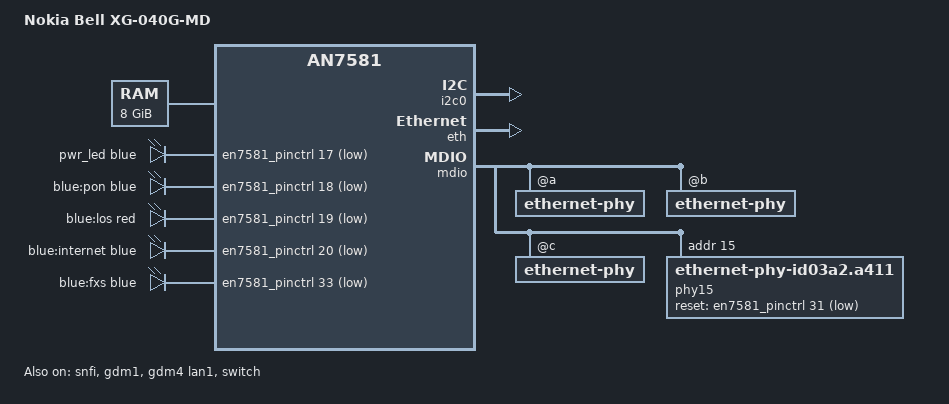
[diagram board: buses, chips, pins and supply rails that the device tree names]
// SPDX-License-Identifier: (GPL-2.0-only OR BSD-2-Clause)

/dts-v1/;

#include <dt-bindings/leds/common.h>
#include <dt-bindings/gpio/gpio.h>
#include <dt-bindings/input/input.h>
#include "an7581.dtsi"

/ {
    model = "Nokia Bell XG-040G-MD";
    compatible = "bell,xg-040g-md", "airoha,an7581";
    /* drop "airoha,en7581" as cpufreq doesn't work */

    aliases {
        serial0 = &uart1;
    };

    chosen {
        bootargs = "console=ttyS0,115200n8 earlycon";
        stdout-path = "serial0:115200n8";
        bootargs-append = " ubi.mtd=rootfs,2048 rootfstype=squashfs ubi.block=0,rootfs ro init=/etc/preinit";
    };

    memory@80000000 {
        device_type = "memory";
        reg = <0x0 0x80000000 0x2 0x00000000>;
    };

	leds {
		compatible = "gpio-leds";

		pwr_led: led-0 {
            // label = "blue:power";
            color = <LED_COLOR_ID_BLUE>;
			function = LED_FUNCTION_POWER;
			gpios = <&en7581_pinctrl 17 GPIO_ACTIVE_LOW>;
			default-state = "on";
		};

		led-1 {
			label = "blue:pon";
			color = <LED_COLOR_ID_BLUE>;
			function = LED_FUNCTION_STATUS;
			gpios = <&en7581_pinctrl 18 GPIO_ACTIVE_LOW>;
		};

		los_led: led-2 {
			label = "blue:los";
			color = <LED_COLOR_ID_RED>;
			function = LED_FUNCTION_STATUS;
			gpios = <&en7581_pinctrl 19 GPIO_ACTIVE_LOW>;
		};

		internet_led: led-3 {
			label = "blue:internet";
			color = <LED_COLOR_ID_BLUE>;
			function = LED_FUNCTION_STATUS;
			gpios = <&en7581_pinctrl 20 GPIO_ACTIVE_LOW>;
		};

		led-4 {
			label = "blue:fxs";
			color = <LED_COLOR_ID_BLUE>;
			function = LED_FUNCTION_STATUS;
			gpios = <&en7581_pinctrl 33 GPIO_ACTIVE_LOW>;
		};
	};
};

&en7581_pinctrl {
    gpio-ranges = <&en7581_pinctrl 0 13 47>;

    mdio_pins: mdio-pins {
        mux {
            function = "mdio";
            groups = "mdio";
        };

        conf {
            pins = "gpio2";
            output-high;
        };
    };

    gswp2_led0_pins: gswp2-led0-pins {
        mux {
            function = "phy2_led0";
            pins = "gpio34";
        };
    };

    gswp3_led0_pins: gswp3-led0-pins {
        mux {
            function = "phy3_led0";
            pins = "gpio35";
        };
    };

    gswp4_led0_pins: gswp4-led0-pins {
        mux {
            function = "phy4_led0";
            pins = "gpio42";
        };
    };
};

&snfi {
	status = "okay";
};

&spi_nand {
	#address-cells = <1>;
	#size-cells = <1>;
        partitions {
        compatible = "fixed-partitions";
		    #address-cells = <1>;
		    #size-cells = <1>;

            partition@0 {
                label = "bootloader";
                reg = <0x0  0x00080000>;
                read-only;
            };

            partition@80000  {
                label = "env";
                reg = <0x00080000 0x00080000>;
            };

            partition@100000 {
                label = "ubi";
                reg = <0x00100000  0x00>;
    		};
     };
};

&i2c0 {
    status = "okay";
};

&eth {
	status = "okay";
};

&gdm1 {
	status = "okay";
};

&gdm4 {
	status = "okay";
	phy-handle = <&phy15>;
	phy-mode = "2500base-x";
	label = "lan1";
};

&switch {
	status = "okay";
	pinctrl-names = "default";
	pinctrl-0 = <&mdio_pins>;

	ports {
		port@2 {
			status = "okay";
			label = "lan2";
		};

		port@3 {
			status = "okay";
			label = "lan3";
		};

		port@4 {
			status = "okay";
			label = "lan4";
		};
	};

	mdio {
		ethernet-phy@a {
			status = "okay";
			pinctrl-names = "gbe-led";
			pinctrl-0 = <&gswp2_led0_pins>;

			leds {
				gsw-phy1-led0@0 {
					reg = <0x00>;
					function = LED_FUNCTION_LAN;
					status = "okay";
					active-low;
				};
			};
		};

		ethernet-phy@b {
			status = "okay";
			pinctrl-names = "gbe-led";
			pinctrl-0 = <&gswp3_led0_pins>;

			leds {
				gsw-phy2-led0@0 {
					reg = <0x00>;
					function = LED_FUNCTION_LAN;
					status = "okay";
					active-low;
				};
			};
		};

		ethernet-phy@c {
			status = "okay";
			pinctrl-names = "gbe-led";
			pinctrl-0 = <&gswp4_led0_pins>;

			leds {
				gsw-phy3-led0@0 {
					reg = <0x00>;
					function = LED_FUNCTION_LAN;
					status = "okay";
					active-low;
				};
			};
		};

		phy15: ethernet-phy@f {
			/* Airoha EN8811H */
			compatible = "ethernet-phy-id03a2.a411", "ethernet-phy-ieee802.3-c45";
			reg = <15>;
            phy-mode = "2500base-x";
			phandle = <0x38>;

            reset-gpios = <&en7581_pinctrl 31 GPIO_ACTIVE_LOW>;
			reset-assert-us = <40000>;
			reset-deassert-us = <150000>;
		};
	};
};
